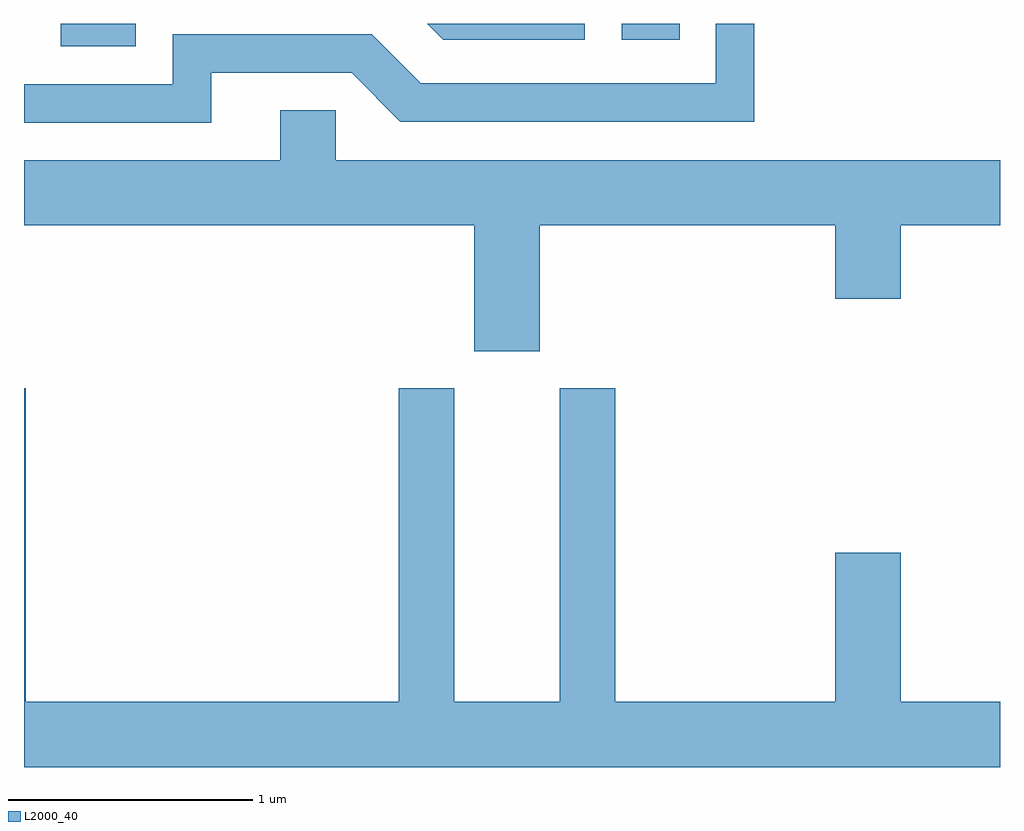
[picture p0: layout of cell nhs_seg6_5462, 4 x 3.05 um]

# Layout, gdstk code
import gdstk
lib = gdstk.Library(unit=1e-6, precision=1e-09)
def R(c, l, rs):  # rectangles x0, y0, x1, y1
    for r in rs: c.add(gdstk.rectangle(r[:2], r[2:], *l))
def P(c, l, *ps):  # polygons
    for p in ps: c.add(gdstk.Polygon(p, *l))
L2000_40 = (2000, 40)

nhs_seg6_5462 = lib.new_cell('nhs_seg6_5462')
R(nhs_seg6_5462, L2000_40, [(351.761,1584.071,352.069,1584.162), (354.061,1584.096,354.298,1584.162)])
P(nhs_seg6_5462, L2000_40, [(353.909,1584.162),(353.263,1584.162),(353.329,1584.096),(353.909,1584.096)],
  [(352.379,1583.961),(352.954,1583.961),(353.154,1583.761),(354.604,1583.761),(354.604,1584.162),(354.446,1584.162),(354.446,1583.919),(353.237,1583.919),(353.037,1584.119),(352.221,1584.119),(352.221,1583.914),(351.611,1583.914),(351.611,1583.756),(352.379,1583.756)],
  [(353.724,1583.336),(354.936,1583.336),(354.936,1583.036),(355.204,1583.036),(355.204,1583.336),(355.611,1583.336),(355.611,1583.604),(352.889,1583.604),(352.889,1583.809),(352.661,1583.809),(352.661,1583.604),(351.611,1583.604),(351.611,1583.336),(353.456,1583.336),(353.456,1582.821),(353.724,1582.821)],
  [(355.611,1581.384),(355.204,1581.384),(355.204,1581.994),(354.936,1581.994),(354.936,1581.384),(354.034,1581.384),(354.034,1582.669),(353.806,1582.669),(353.806,1581.384),(353.374,1581.384),(353.374,1582.669),(353.146,1582.669),(353.146,1581.384),(351.619,1581.384),(351.619,1582.669),(351.611,1582.669),(351.611,1581.116),(355.611,1581.116)])

lib.write_gds('nhs_seg6_5462.gds')
